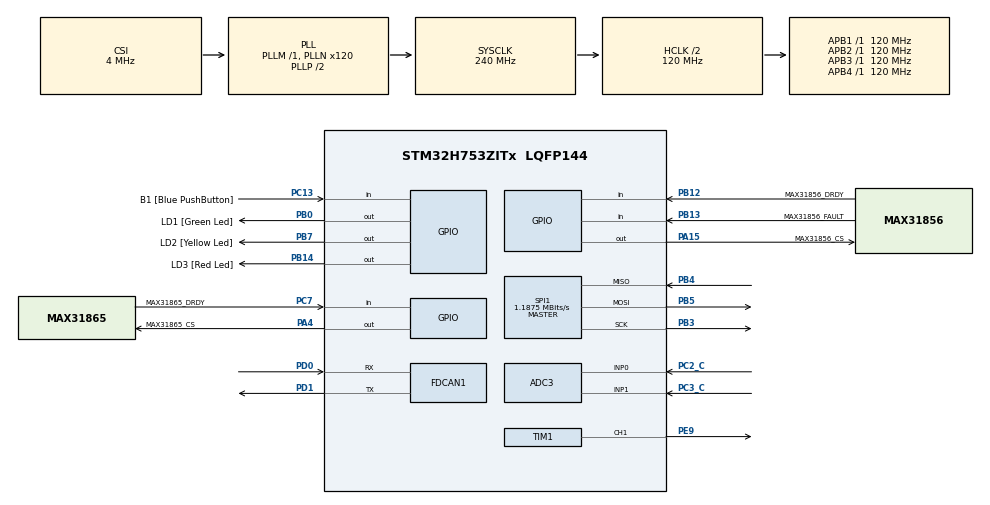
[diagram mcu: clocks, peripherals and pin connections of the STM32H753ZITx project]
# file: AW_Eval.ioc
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ADC3.Channel-0\#ChannelRegularConversion=ADC_CHANNEL_0
ADC3.Channel-1\#ChannelRegularConversion=ADC_CHANNEL_1
ADC3.Channel-2\#ChannelRegularConversion=ADC_CHANNEL_TEMPSENSOR
ADC3.ConversionDataManagement=ADC_CONVERSIONDATA_DMA_CIRCULAR
ADC3.EOCSelection=ADC_EOC_SEQ_CONV
ADC3.ExternalTrigConv=ADC_EXTERNALTRIG_T1_CC1
ADC3.NbrOfConversion=3
ADC3.NbrOfConversionFlag=1
ADC3.OffsetNumber-0\#ChannelRegularConversion=ADC_OFFSET_NONE
ADC3.OffsetNumber-1\#ChannelRegularConversion=ADC_OFFSET_NONE
ADC3.OffsetNumber-2\#ChannelRegularConversion=ADC_OFFSET_NONE
ADC3.OffsetSignedSaturation-0\#ChannelRegularConversion=DISABLE
ADC3.OffsetSignedSaturation-1\#ChannelRegularConversion=DISABLE
ADC3.OffsetSignedSaturation-2\#ChannelRegularConversion=DISABLE
ADC3.Overrun=ADC_OVR_DATA_OVERWRITTEN
ADC3.Rank-0\#ChannelRegularConversion=1
ADC3.Rank-1\#ChannelRegularConversion=2
ADC3.Rank-2\#ChannelRegularConversion=3
ADC3.SamplingTime-0\#ChannelRegularConversion=ADC_SAMPLETIME_1CYCLE_5
ADC3.SamplingTime-1\#ChannelRegularConversion=ADC_SAMPLETIME_1CYCLE_5
ADC3.SamplingTime-2\#ChannelRegularConversion=ADC_SAMPLETIME_810CYCLES_5
Bdma.ADC3.0.Direction=DMA_PERIPH_TO_MEMORY
Bdma.ADC3.0.EventEnable=DISABLE
Bdma.ADC3.0.Instance=BDMA_Channel0
Bdma.ADC3.0.MemDataAlignment=DMA_MDATAALIGN_HALFWORD
Bdma.ADC3.0.MemInc=DMA_MINC_ENABLE
Bdma.ADC3.0.Mode=DMA_CIRCULAR
Bdma.ADC3.0.PeriphDataAlignment=DMA_PDATAALIGN_HALFWORD
Bdma.ADC3.0.PeriphInc=DMA_PINC_DISABLE
Bdma.ADC3.0.Polarity=HAL_DMAMUX_REQ_GEN_RISING
Bdma.ADC3.0.Priority=DMA_PRIORITY_LOW
Bdma.ADC3.0.RequestNumber=1
Bdma.ADC3.0.SignalID=NONE
Bdma.ADC3.0.SyncEnable=DISABLE
Bdma.ADC3.0.SyncPolarity=HAL_DMAMUX_SYNC_NO_EVENT
Bdma.ADC3.0.SyncRequestNumber=1
Bdma.ADC3.0.SyncSignalID=NONE
Bdma.Request0=ADC3
Bdma.RequestsNb=1
CORTEX_M7.CPU_DCache=Disabled
CORTEX_M7.CPU_ICache=Disabled
CORTEX_M7.MPU_Control=__NULL
CORTEX_M7.default_mode_Activation=1
FDCAN1.CalculateBaudRateNominal=500000
FDCAN1.CalculateTimeBitNominal=2000
FDCAN1.CalculateTimeQuantumNominal=499.99999999999994
FDCAN1.ClockCalibrationCCU=DISABLE
FDCAN1.NominalPrescaler=19
FDCAN1.NominalTimeSeg1=2
FDCAN1.TxBuffersNbr=32
FREERTOS.Tasks01=can,24,128,canTask,Default,NULL,Dynamic,NULL,NULL;hrtbt,8,128,task_heartbeat,Default,NULL,Dynamic,NULL,NULL;spi,8,128,task_spi,Default,NULL,Dynamic,NULL,NULL
Mcu.Family=STM32H7
Mcu.Name=STM32H753ZITx
Mcu.Package=LQFP144
NVIC.BDMA_Channel0_IRQn=true\:5\:0\:false\:false\:true\:true\:false\:true\:true
NVIC.PriorityGroup=NVIC_PRIORITYGROUP_4
PA15\ (JTDI).GPIO_Label=MAX31856_CS
PA15\ (JTDI).GPIO_Speed=GPIO_SPEED_FREQ_VERY_HIGH
PA15\ (JTDI).PinState=GPIO_PIN_SET
PA15\ (JTDI).Signal=GPIO_Output
PA4.GPIO_Label=MAX31865_CS
PA4.GPIO_Speed=GPIO_SPEED_FREQ_VERY_HIGH
PA4.PinState=GPIO_PIN_SET
PA4.Signal=GPIO_Output
PB0.GPIO_Label=LD1 [Green Led]
PB0.Signal=GPIO_Output
PB12.GPIO_Label=MAX31856_DRDY
PB12.Signal=GPIO_Input
PB13.GPIO_Label=MAX31856_FAULT
PB13.Signal=GPIO_Input
PB14.GPIO_Label=LD3 [Red Led]
PB14.Signal=GPIO_Output
PB3\ (JTDO/TRACESWO).GPIO_Speed=GPIO_SPEED_FREQ_VERY_HIGH
PB3\ (JTDO/TRACESWO).Mode=Full_Duplex_Master
PB3\ (JTDO/TRACESWO).Signal=SPI1_SCK
PB4\ (NJTRST).GPIO_Speed=GPIO_SPEED_FREQ_VERY_HIGH
PB4\ (NJTRST).Mode=Full_Duplex_Master
PB4\ (NJTRST).Signal=SPI1_MISO
PB5.GPIO_Speed=GPIO_SPEED_FREQ_VERY_HIGH
PB5.Mode=Full_Duplex_Master
PB5.Signal=SPI1_MOSI
PB7.GPIO_Label=LD2 [Yellow Led]
PB7.Signal=GPIO_Output
PC13.GPIO_Label=B1 [Blue PushButton]
PC13.Signal=GPIO_Input
PC14-OSC32_IN\ (OSC32_IN).Signal=RCC_OSC32_IN
PC15-OSC32_OUT\ (OSC32_OUT).Signal=RCC_OSC32_OUT
PC2_C.Mode=IN0-Single-Ended
PC2_C.Signal=ADC3_INP0
PC3_C.Mode=IN1-Single-Ended
PC3_C.Signal=ADC3_INP1
PC7.GPIO_Label=MAX31865_DRDY
PC7.Signal=GPIO_Input
PD0.Mode=FDCAN_Activate
PD0.Signal=FDCAN1_RX
PD1.Mode=FDCAN_Activate
PD1.Signal=FDCAN1_TX
PD8.GPIO_Label=STLINK_RX
PD8.Signal=USART3_TX
PD9.GPIO_Label=STLINK_TX
PD9.Signal=USART3_RX
PE9.Signal=S_TIM1_CH1
PH0-OSC_IN\ (PH0).Signal=RCC_OSC_IN
PH1-OSC_OUT\ (PH1).Signal=RCC_OSC_OUT
ProjectManager.HeapSize=0x200
ProjectManager.StackSize=0x400
ProjectManager.TargetToolchain=STM32CubeIDE
RCC.ADCFreq_Value=76000000
RCC.APB1Freq_Value=120000000
RCC.APB2Freq_Value=120000000
RCC.APB3Freq_Value=120000000
RCC.APB4Freq_Value=120000000
RCC.CortexFreq_Value=240000000
RCC.DIVM1=1
RCC.DIVM2=1
RCC.DIVN1=120
RCC.DIVN2=38
RCC.DIVQ2=4
RCC.FDCANCLockSelection=RCC_FDCANCLKSOURCE_PLL2
RCC.HCLKFreq_Value=120000000
RCC.HPRE=RCC_HCLK_DIV2
RCC.HSE_VALUE=8000000
RCC.PLL2FRACN=0
RCC.PLLFRACN=0
RCC.PLLSourceVirtual=RCC_PLLSOURCE_CSI
RCC.PWR_Regulator_Voltage_Scale=PWR_REGULATOR_VOLTAGE_SCALE2
RCC.SPI123CLockSelection=RCC_SPI123CLKSOURCE_PLL2
RCC.SYSCLKFreq_VALUE=240000000
RCC.SYSCLKSource=RCC_SYSCLKSOURCE_PLLCLK
RCC.USBFreq_Value=240000000
SH.S_TIM1_CH1.0=TIM1_CH1,PWM Generation1 CH1
SPI1.BaudRatePrescaler=SPI_BAUDRATEPRESCALER_64
SPI1.CLKPhase=SPI_PHASE_1EDGE
SPI1.CalculateBaudRate=1.1875 MBits/s
SPI1.DataSize=SPI_DATASIZE_8BIT
SPI1.Direction=SPI_DIRECTION_2LINES
SPI1.Mode=SPI_MODE_MASTER
SPI1.NSSPMode=SPI_NSS_PULSE_ENABLE
SPI1.VirtualType=VM_MASTER
TIM1.AutoReloadPreload=TIM_AUTORELOAD_PRELOAD_ENABLE
TIM1.Channel-PWM\ Generation1\ CH1=TIM_CHANNEL_1
TIM1.Period=1000
TIM1.Prescaler=64000
TIM1.Pulse-PWM\ Generation1\ CH1=500
TIM1.TIM_MasterOutputTrigger=TIM_TRGO_OC1REF
VP_ADC3_TempSens_Input.Mode=IN-TempSens
VP_FREERTOS_VS_CMSIS_V2.Mode=CMSIS_V2
VP_MEMORYMAP_VS_MEMORYMAP.Mode=CurAppReg
board=NUCLEO-H753ZI

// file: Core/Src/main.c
/* USER CODE BEGIN Header */
/**
  ******************************************************************************
  * @file           : main.c
  * @brief          : Main program body
  ******************************************************************************
  * @attention
  *
  * Copyright (c) 2025 STMicroelectronics.
  * All rights reserved.
  *
  * This software is licensed under terms that can be found in the LICENSE file
  * in the root directory of this software component.
  * If no LICENSE file comes with this software, it is provided AS-IS.
  *
  ******************************************************************************
  */
/* USER CODE END Header */
#include "main.h"
#include "cmsis_os.h"

/* USER CODE BEGIN Includes */
#include "max31865.h" //RTD
#include "max31856.h" //TC
/* USER CODE END Includes */

ADC_HandleTypeDef hadc3;
DMA_HandleTypeDef hdma_adc3;

FDCAN_HandleTypeDef hfdcan1;

SPI_HandleTypeDef hspi1;

TIM_HandleTypeDef htim1;

/* Definitions for can */
osThreadId_t canHandle;
const osThreadAttr_t can_attributes = {
  .name = "can",
  .stack_size = 128 * 4,
  .priority = (osPriority_t) osPriorityNormal,
};
/* Definitions for hrtbt */
osThreadId_t hrtbtHandle;
const osThreadAttr_t hrtbt_attributes = {
  .name = "hrtbt",
  .stack_size = 128 * 4,
  .priority = (osPriority_t) osPriorityLow,
};
/* Definitions for spi */
osThreadId_t spiHandle;
const osThreadAttr_t spi_attributes = {
  .name = "spi",
  .stack_size = 128 * 4,
  .priority = (osPriority_t) osPriorityLow,
};
/* USER CODE BEGIN PV */

float scalar = 3.3f/32768.0f;
/* Definition of ADCx conversions data table size */
#define ADC_DATA_BUFFER_SIZE3   ((uint32_t)  3)   /* Size of array aADCxConvertedData[] */
/* Variable containing ADC conversions data */

float TS_CAL1_TEMP = 30.0f,TS_CAL2_TEMP = 130.0f;
ALIGN_32BYTES (static uint16_t   aADCxConvertedData3[ADC_DATA_BUFFER_SIZE3])  __attribute__((section(".RAM_D3")));
float result[ADC_DATA_BUFFER_SIZE3];
/* USER CODE END PV */

void SystemClock_Config(void);
void PeriphCommonClock_Config(void);
static void MX_GPIO_Init(void);
static void MX_BDMA_Init(void);
static void MX_FDCAN1_Init(void);
static void MX_TIM1_Init(void);
static void MX_ADC3_Init(void);
static void MX_SPI1_Init(void);
void canTask(void *argument);
void task_heartbeat(void *argument);
void task_spi(void *argument);

/* USER CODE BEGIN 0 */
uint8_t convComplete = 0;

void HAL_ADC_ConvCpltCallback(ADC_HandleTypeDef* hadc)
{
	if (hadc->Instance == ADC3) {
	   //SCB_InvalidateDCache_by_Addr((uint32_t *) &aADCxConvertedData3[0], ADC_DATA_BUFFER_SIZE3);
	   for(int i = 0; i<ADC_DATA_BUFFER_SIZE3;i++){
		   result[i] = scalar * (float)aADCxConvertedData3[i];
	   }
	   convComplete = 1;
	}
}
/* USER CODE END 0 */

int main(void)
{

  /* MCU Configuration--------------------------------------------------------*/

  /* Reset of all peripherals, Initializes the Flash interface and the Systick. */
  HAL_Init();

  /* Configure the system clock */
  SystemClock_Config();

  /* Configure the peripherals common clocks */
  PeriphCommonClock_Config();

  /* Initialize all configured peripherals */
  MX_GPIO_Init();
  MX_BDMA_Init();
  MX_FDCAN1_Init();
  MX_TIM1_Init();
  MX_ADC3_Init();
  MX_SPI1_Init();
  /* USER CODE BEGIN 2 */
	HAL_ADCEx_Calibration_Start(&hadc3,ADC_CALIB_OFFSET_LINEARITY,ADC_SINGLE_ENDED);
	HAL_ADC_Start_DMA(&hadc3, (uint32_t *)aADCxConvertedData3, ADC_DATA_BUFFER_SIZE3);

	HAL_TIM_PWM_Start(&htim1, TIM_CHANNEL_1);

	HAL_FDCAN_Start(&hfdcan1);
  /* USER CODE END 2 */

  /* Init scheduler */
  osKernelInitialize();

  /* Create the thread(s) */
  /* creation of can */
  canHandle = osThreadNew(canTask, NULL, &can_attributes);

  /* creation of hrtbt */
  hrtbtHandle = osThreadNew(task_heartbeat, NULL, &hrtbt_attributes);

  /* creation of spi */
  spiHandle = osThreadNew(task_spi, NULL, &spi_attributes);

  /* Start scheduler */
  osKernelStart();

  /* We should never get here as control is now taken by the scheduler */

  /* Infinite loop */
  while (1)
  {

  }
}

void SystemClock_Config(void)
{
  RCC_OscInitTypeDef RCC_OscInitStruct = {0};
  RCC_ClkInitTypeDef RCC_ClkInitStruct = {0};

  /** Supply configuration update enable
  */
  HAL_PWREx_ConfigSupply(PWR_LDO_SUPPLY);

  /** Configure the main internal regulator output voltage
  */
  __HAL_PWR_VOLTAGESCALING_CONFIG(PWR_REGULATOR_VOLTAGE_SCALE2);

  while(!__HAL_PWR_GET_FLAG(PWR_FLAG_VOSRDY)) {}

  /** Initializes the RCC Oscillators according to the specified parameters
  * in the RCC_OscInitTypeDef structure.
  */
  RCC_OscInitStruct.OscillatorType = RCC_OSCILLATORTYPE_CSI;
  RCC_OscInitStruct.CSIState = RCC_CSI_ON;
  RCC_OscInitStruct.CSICalibrationValue = RCC_CSICALIBRATION_DEFAULT;
  RCC_OscInitStruct.PLL.PLLState = RCC_PLL_ON;
  RCC_OscInitStruct.PLL.PLLSource = RCC_PLLSOURCE_CSI;
  RCC_OscInitStruct.PLL.PLLM = 1;
  RCC_OscInitStruct.PLL.PLLN = 120;
  RCC_OscInitStruct.PLL.PLLP = 2;
  RCC_OscInitStruct.PLL.PLLQ = 2;
  RCC_OscInitStruct.PLL.PLLR = 2;
  RCC_OscInitStruct.PLL.PLLRGE = RCC_PLL1VCIRANGE_2;
  RCC_OscInitStruct.PLL.PLLVCOSEL = RCC_PLL1VCOWIDE;
  RCC_OscInitStruct.PLL.PLLFRACN = 0;
  if (HAL_RCC_OscConfig(&RCC_OscInitStruct) != HAL_OK)
  {
    Error_Handler();
  }

  /** Initializes the CPU, AHB and APB buses clocks
  */
  RCC_ClkInitStruct.ClockType = RCC_CLOCKTYPE_HCLK|RCC_CLOCKTYPE_SYSCLK
                              |RCC_CLOCKTYPE_PCLK1|RCC_CLOCKTYPE_PCLK2
                              |RCC_CLOCKTYPE_D3PCLK1|RCC_CLOCKTYPE_D1PCLK1;
  RCC_ClkInitStruct.SYSCLKSource = RCC_SYSCLKSOURCE_PLLCLK;
  RCC_ClkInitStruct.SYSCLKDivider = RCC_SYSCLK_DIV1;
  RCC_ClkInitStruct.AHBCLKDivider = RCC_HCLK_DIV2;
  RCC_ClkInitStruct.APB3CLKDivider = RCC_APB3_DIV1;
  RCC_ClkInitStruct.APB1CLKDivider = RCC_APB1_DIV1;
  RCC_ClkInitStruct.APB2CLKDivider = RCC_APB2_DIV1;
  RCC_ClkInitStruct.APB4CLKDivider = RCC_APB4_DIV1;

  if (HAL_RCC_ClockConfig(&RCC_ClkInitStruct, FLASH_LATENCY_2) != HAL_OK)
  {
    Error_Handler();
  }
}

void PeriphCommonClock_Config(void)
{
  RCC_PeriphCLKInitTypeDef PeriphClkInitStruct = {0};

  /** Initializes the peripherals clock
  */
  PeriphClkInitStruct.PeriphClockSelection = RCC_PERIPHCLK_ADC|RCC_PERIPHCLK_SPI1
                              |RCC_PERIPHCLK_FDCAN;
  PeriphClkInitStruct.PLL2.PLL2M = 1;
  PeriphClkInitStruct.PLL2.PLL2N = 38;
  PeriphClkInitStruct.PLL2.PLL2P = 2;
  PeriphClkInitStruct.PLL2.PLL2Q = 4;
  PeriphClkInitStruct.PLL2.PLL2R = 2;
  PeriphClkInitStruct.PLL2.PLL2RGE = RCC_PLL2VCIRANGE_2;
  PeriphClkInitStruct.PLL2.PLL2VCOSEL = RCC_PLL2VCOMEDIUM;
  PeriphClkInitStruct.PLL2.PLL2FRACN = 0;
  PeriphClkInitStruct.Spi123ClockSelection = RCC_SPI123CLKSOURCE_PLL2;
  PeriphClkInitStruct.FdcanClockSelection = RCC_FDCANCLKSOURCE_PLL2;
  PeriphClkInitStruct.AdcClockSelection = RCC_ADCCLKSOURCE_PLL2;
  if (HAL_RCCEx_PeriphCLKConfig(&PeriphClkInitStruct) != HAL_OK)
  {
    Error_Handler();
  }
}

static void MX_ADC3_Init(void)
{

  ADC_ChannelConfTypeDef sConfig = {0};

  /** Common config
  */
  hadc3.Instance = ADC3;
  hadc3.Init.ClockPrescaler = ADC_CLOCK_ASYNC_DIV2;
  hadc3.Init.Resolution = ADC_RESOLUTION_16B;
  hadc3.Init.ScanConvMode = ADC_SCAN_ENABLE;
  hadc3.Init.EOCSelection = ADC_EOC_SEQ_CONV;
  hadc3.Init.LowPowerAutoWait = DISABLE;
  hadc3.Init.ContinuousConvMode = DISABLE;
  hadc3.Init.NbrOfConversion = 3;
  hadc3.Init.DiscontinuousConvMode = DISABLE;
  hadc3.Init.ExternalTrigConv = ADC_EXTERNALTRIG_T1_CC1;
  hadc3.Init.ExternalTrigConvEdge = ADC_EXTERNALTRIGCONVEDGE_RISING;
  hadc3.Init.ConversionDataManagement = ADC_CONVERSIONDATA_DMA_CIRCULAR;
  hadc3.Init.Overrun = ADC_OVR_DATA_OVERWRITTEN;
  hadc3.Init.LeftBitShift = ADC_LEFTBITSHIFT_NONE;
  hadc3.Init.OversamplingMode = DISABLE;
  hadc3.Init.Oversampling.Ratio = 1;
  if (HAL_ADC_Init(&hadc3) != HAL_OK)
  {
    Error_Handler();
  }

  /** Configure Regular Channel
  */
  sConfig.Channel = ADC_CHANNEL_0;
  sConfig.Rank = ADC_REGULAR_RANK_1;
  sConfig.SamplingTime = ADC_SAMPLETIME_1CYCLE_5;
  sConfig.SingleDiff = ADC_SINGLE_ENDED;
  sConfig.OffsetNumber = ADC_OFFSET_NONE;
  sConfig.Offset = 0;
  sConfig.OffsetSignedSaturation = DISABLE;
  if (HAL_ADC_ConfigChannel(&hadc3, &sConfig) != HAL_OK)
  {
    Error_Handler();
  }

  /** Configure Regular Channel
  */
  sConfig.Channel = ADC_CHANNEL_1;
  sConfig.Rank = ADC_REGULAR_RANK_2;
  if (HAL_ADC_ConfigChannel(&hadc3, &sConfig) != HAL_OK)
  {
    Error_Handler();
  }

  /** Configure Regular Channel
  */
  sConfig.Channel = ADC_CHANNEL_TEMPSENSOR;
  sConfig.Rank = ADC_REGULAR_RANK_3;
  sConfig.SamplingTime = ADC_SAMPLETIME_810CYCLES_5;
  if (HAL_ADC_ConfigChannel(&hadc3, &sConfig) != HAL_OK)
  {
    Error_Handler();
  }

}

static void MX_FDCAN1_Init(void)
{

  hfdcan1.Instance = FDCAN1;
  hfdcan1.Init.FrameFormat = FDCAN_FRAME_CLASSIC;
  hfdcan1.Init.Mode = FDCAN_MODE_NORMAL;
  hfdcan1.Init.AutoRetransmission = DISABLE;
  hfdcan1.Init.TransmitPause = DISABLE;
  hfdcan1.Init.ProtocolException = DISABLE;
  hfdcan1.Init.NominalPrescaler = 19;
  hfdcan1.Init.NominalSyncJumpWidth = 1;
  hfdcan1.Init.NominalTimeSeg1 = 2;
  hfdcan1.Init.NominalTimeSeg2 = 1;
  hfdcan1.Init.DataPrescaler = 1;
  hfdcan1.Init.DataSyncJumpWidth = 1;
  hfdcan1.Init.DataTimeSeg1 = 1;
  hfdcan1.Init.DataTimeSeg2 = 1;
  hfdcan1.Init.MessageRAMOffset = 0;
  hfdcan1.Init.StdFiltersNbr = 0;
  hfdcan1.Init.ExtFiltersNbr = 0;
  hfdcan1.Init.RxFifo0ElmtsNbr = 0;
  hfdcan1.Init.RxFifo0ElmtSize = FDCAN_DATA_BYTES_8;
  hfdcan1.Init.RxFifo1ElmtsNbr = 0;
  hfdcan1.Init.RxFifo1ElmtSize = FDCAN_DATA_BYTES_8;
  hfdcan1.Init.RxBuffersNbr = 0;
  hfdcan1.Init.RxBufferSize = FDCAN_DATA_BYTES_8;
  hfdcan1.Init.TxEventsNbr = 0;
  hfdcan1.Init.TxBuffersNbr = 32;
  hfdcan1.Init.TxFifoQueueElmtsNbr = 0;
  hfdcan1.Init.TxFifoQueueMode = FDCAN_TX_FIFO_OPERATION;
  hfdcan1.Init.TxElmtSize = FDCAN_DATA_BYTES_8;
  if (HAL_FDCAN_Init(&hfdcan1) != HAL_OK)
  {
    Error_Handler();
  }

}

static void MX_SPI1_Init(void)
{

  /* SPI1 parameter configuration*/
  hspi1.Instance = SPI1;
  hspi1.Init.Mode = SPI_MODE_MASTER;
  hspi1.Init.Direction = SPI_DIRECTION_2LINES;
  hspi1.Init.DataSize = SPI_DATASIZE_8BIT;
  hspi1.Init.CLKPolarity = SPI_POLARITY_LOW;
  hspi1.Init.CLKPhase = SPI_PHASE_1EDGE;
  hspi1.Init.NSS = SPI_NSS_SOFT;
  hspi1.Init.BaudRatePrescaler = SPI_BAUDRATEPRESCALER_64;
  hspi1.Init.FirstBit = SPI_FIRSTBIT_MSB;
  hspi1.Init.TIMode = SPI_TIMODE_DISABLE;
  hspi1.Init.CRCCalculation = SPI_CRCCALCULATION_DISABLE;
  hspi1.Init.CRCPolynomial = 0x0;
  hspi1.Init.NSSPMode = SPI_NSS_PULSE_ENABLE;
  hspi1.Init.NSSPolarity = SPI_NSS_POLARITY_LOW;
  hspi1.Init.FifoThreshold = SPI_FIFO_THRESHOLD_01DATA;
  hspi1.Init.TxCRCInitializationPattern = SPI_CRC_INITIALIZATION_ALL_ZERO_PATTERN;
  hspi1.Init.RxCRCInitializationPattern = SPI_CRC_INITIALIZATION_ALL_ZERO_PATTERN;
  hspi1.Init.MasterSSIdleness = SPI_MASTER_SS_IDLENESS_00CYCLE;
  hspi1.Init.MasterInterDataIdleness = SPI_MASTER_INTERDATA_IDLENESS_00CYCLE;
  hspi1.Init.MasterReceiverAutoSusp = SPI_MASTER_RX_AUTOSUSP_DISABLE;
  hspi1.Init.MasterKeepIOState = SPI_MASTER_KEEP_IO_STATE_DISABLE;
  hspi1.Init.IOSwap = SPI_IO_SWAP_DISABLE;
  if (HAL_SPI_Init(&hspi1) != HAL_OK)
  {
    Error_Handler();
  }

}

static void MX_TIM1_Init(void)
{

  TIM_MasterConfigTypeDef sMasterConfig = {0};
  TIM_OC_InitTypeDef sConfigOC = {0};
  TIM_BreakDeadTimeConfigTypeDef sBreakDeadTimeConfig = {0};

  htim1.Instance = TIM1;
  htim1.Init.Prescaler = 64000;
  htim1.Init.CounterMode = TIM_COUNTERMODE_UP;
  htim1.Init.Period = 1000;
  htim1.Init.ClockDivision = TIM_CLOCKDIVISION_DIV1;
  htim1.Init.RepetitionCounter = 0;
  htim1.Init.AutoReloadPreload = TIM_AUTORELOAD_PRELOAD_ENABLE;
  if (HAL_TIM_PWM_Init(&htim1) != HAL_OK)
  {
    Error_Handler();
  }
  sMasterConfig.MasterOutputTrigger = TIM_TRGO_OC1REF;
  sMasterConfig.MasterOutputTrigger2 = TIM_TRGO2_RESET;
  sMasterConfig.MasterSlaveMode = TIM_MASTERSLAVEMODE_DISABLE;
  if (HAL_TIMEx_MasterConfigSynchronization(&htim1, &sMasterConfig) != HAL_OK)
  {
    Error_Handler();
  }
  sConfigOC.OCMode = TIM_OCMODE_PWM1;
  sConfigOC.Pulse = 500;
  sConfigOC.OCPolarity = TIM_OCPOLARITY_HIGH;
  sConfigOC.OCNPolarity = TIM_OCNPOLARITY_HIGH;
  sConfigOC.OCFastMode = TIM_OCFAST_DISABLE;
  sConfigOC.OCIdleState = TIM_OCIDLESTATE_RESET;
  sConfigOC.OCNIdleState = TIM_OCNIDLESTATE_RESET;
  if (HAL_TIM_PWM_ConfigChannel(&htim1, &sConfigOC, TIM_CHANNEL_1) != HAL_OK)
  {
    Error_Handler();
  }
  sBreakDeadTimeConfig.OffStateRunMode = TIM_OSSR_DISABLE;
  sBreakDeadTimeConfig.OffStateIDLEMode = TIM_OSSI_DISABLE;
  sBreakDeadTimeConfig.LockLevel = TIM_LOCKLEVEL_OFF;
  sBreakDeadTimeConfig.DeadTime = 0;
  sBreakDeadTimeConfig.BreakState = TIM_BREAK_DISABLE;
  sBreakDeadTimeConfig.BreakPolarity = TIM_BREAKPOLARITY_HIGH;
  sBreakDeadTimeConfig.BreakFilter = 0;
  sBreakDeadTimeConfig.Break2State = TIM_BREAK2_DISABLE;
  sBreakDeadTimeConfig.Break2Polarity = TIM_BREAK2POLARITY_HIGH;
  sBreakDeadTimeConfig.Break2Filter = 0;
  sBreakDeadTimeConfig.AutomaticOutput = TIM_AUTOMATICOUTPUT_DISABLE;
  if (HAL_TIMEx_ConfigBreakDeadTime(&htim1, &sBreakDeadTimeConfig) != HAL_OK)
  {
    Error_Handler();
  }
  HAL_TIM_MspPostInit(&htim1);

}

static void MX_BDMA_Init(void)
{

  /* DMA controller clock enable */
  __HAL_RCC_BDMA_CLK_ENABLE();

  /* DMA interrupt init */
  /* BDMA_Channel0_IRQn interrupt configuration */
  HAL_NVIC_SetPriority(BDMA_Channel0_IRQn, 5, 0);
  HAL_NVIC_EnableIRQ(BDMA_Channel0_IRQn);

}

static void MX_GPIO_Init(void)
{
  GPIO_InitTypeDef GPIO_InitStruct = {0};

  /* GPIO Ports Clock Enable */
  __HAL_RCC_GPIOC_CLK_ENABLE();
  __HAL_RCC_GPIOH_CLK_ENABLE();
  __HAL_RCC_GPIOA_CLK_ENABLE();
  __HAL_RCC_GPIOB_CLK_ENABLE();
  __HAL_RCC_GPIOE_CLK_ENABLE();
  __HAL_RCC_GPIOD_CLK_ENABLE();

  /*Configure GPIO pin Output Level */
  HAL_GPIO_WritePin(GPIOA, MAX31865_CS_Pin|MAX31856_CS_Pin, GPIO_PIN_SET);

  /*Configure GPIO pin Output Level */
  HAL_GPIO_WritePin(GPIOB, LD1_Pin|LD3_Pin|LD2_Pin, GPIO_PIN_RESET);

  /*Configure GPIO pins : B1_Pin MAX31865_DRDY_Pin */
  GPIO_InitStruct.Pin = B1_Pin|MAX31865_DRDY_Pin;
  GPIO_InitStruct.Mode = GPIO_MODE_INPUT;
  GPIO_InitStruct.Pull = GPIO_NOPULL;
  HAL_GPIO_Init(GPIOC, &GPIO_InitStruct);

  /*Configure GPIO pins : MAX31865_CS_Pin MAX31856_CS_Pin */
  GPIO_InitStruct.Pin = MAX31865_CS_Pin|MAX31856_CS_Pin;
  GPIO_InitStruct.Mode = GPIO_MODE_OUTPUT_PP;
  GPIO_InitStruct.Pull = GPIO_NOPULL;
  GPIO_InitStruct.Speed = GPIO_SPEED_FREQ_VERY_HIGH;
  HAL_GPIO_Init(GPIOA, &GPIO_InitStruct);

  /*Configure GPIO pins : LD1_Pin LD3_Pin LD2_Pin */
  GPIO_InitStruct.Pin = LD1_Pin|LD3_Pin|LD2_Pin;
  GPIO_InitStruct.Mode = GPIO_MODE_OUTPUT_PP;
  GPIO_InitStruct.Pull = GPIO_NOPULL;
  GPIO_InitStruct.Speed = GPIO_SPEED_FREQ_LOW;
  HAL_GPIO_Init(GPIOB, &GPIO_InitStruct);

  /*Configure GPIO pins : MAX31856_DRDY_Pin MAX31856_FAULT_Pin */
  GPIO_InitStruct.Pin = MAX31856_DRDY_Pin|MAX31856_FAULT_Pin;
  GPIO_InitStruct.Mode = GPIO_MODE_INPUT;
  GPIO_InitStruct.Pull = GPIO_NOPULL;
  HAL_GPIO_Init(GPIOB, &GPIO_InitStruct);

  /*Configure GPIO pins : STLINK_RX_Pin STLINK_TX_Pin */
  GPIO_InitStruct.Pin = STLINK_RX_Pin|STLINK_TX_Pin;
  GPIO_InitStruct.Mode = GPIO_MODE_AF_PP;
  GPIO_InitStruct.Pull = GPIO_NOPULL;
  GPIO_InitStruct.Speed = GPIO_SPEED_FREQ_LOW;
  GPIO_InitStruct.Alternate = GPIO_AF7_USART3;
  HAL_GPIO_Init(GPIOD, &GPIO_InitStruct);

}

void canTask(void *argument)
{
  /* USER CODE BEGIN 5 */
	float tempC_int,tempF_ext;
	//Assumes vref of 3.3v, we are using 2.5v so these need scaled.
	float TS_CAL1 = (float)(*(uint16_t*)0x1FF1E820);
	float TS_CAL2 = (float)(*(uint16_t*)0x1FF1E840);
	float tempSlope = ((TS_CAL2_TEMP - TS_CAL1_TEMP)/(TS_CAL2 - TS_CAL1));
	FDCAN_TxHeaderTypeDef pTxHeader;
	uint8_t pTxData[8];
	pTxHeader.Identifier = 0x1FFF2018;
	pTxHeader.IdType = FDCAN_EXTENDED_ID;
	pTxHeader.TxFrameType = FDCAN_DATA_FRAME;
	pTxHeader.DataLength = FDCAN_DLC_BYTES_8;
	pTxHeader.ErrorStateIndicator = FDCAN_ESI_PASSIVE;
	pTxHeader.BitRateSwitch = FDCAN_BRS_OFF;
	pTxHeader.FDFormat = FDCAN_CLASSIC_CAN;
	pTxHeader.TxEventFifoControl = FDCAN_NO_TX_EVENTS;
	pTxHeader.MessageMarker = 0x00;
  /* Infinite loop */
  for(;;)
  {
	  if(convComplete){
		  convComplete = 0;
		  tempC_int = tempSlope * ((float)aADCxConvertedData3[2] - TS_CAL1) + TS_CAL1_TEMP;
		  tempF_ext = result[0]*100; //10mv/degF (LM34)
		  pTxData[0] = tempF_ext;
		  pTxData[1] =(uint8_t)tempC_int;
		  pTxData[2] = 0x04;
		  pTxData[3] = 0x04;
		  pTxData[4] = 0x05;
		  pTxData[5] = 0x06;
		  pTxData[6] = 0x07;
		  pTxData[7]++;
		  HAL_FDCAN_AddMessageToTxBuffer(&hfdcan1, &pTxHeader, pTxData, FDCAN_TX_BUFFER0);
		  HAL_FDCAN_EnableTxBufferRequest(&hfdcan1 , FDCAN_TX_BUFFER0);
	  }
    osDelay(500);
  }
  /* USER CODE END 5 */
}

void task_heartbeat(void *argument)
{
  for(;;)
  {
    osDelay(1);
  }
}

/* USER CODE BEGIN Header_task_spi */
  uint16_t RtdConversion = 0;
  uint8_t pTxData[8] = {0};
  uint8_t pRxData[8] = {0};
  uint16_t size = 1;
  /*
   *
   */
  /*
   * One for all devices using the spi bus line, This is not reentrant.
   */
  void spiCblk(uint8_t *txData, uint8_t *rxData, uint8_t length){
	  HAL_SPI_TransmitReceive(&hspi1, txData, rxData, length, 1);
  }
  /*
   * If state is active (>0) then the output is low.
   */
  void max31865_cs(uint8_t state){
	  GPIO_PinState localState;
	  if(state){
		  localState = GPIO_PIN_RESET;
	  }else{
		  localState = GPIO_PIN_SET;
	  }
	  HAL_GPIO_WritePin(MAX31865_CS_GPIO_Port, MAX31865_CS_Pin, localState);
  }
  /*
   * Used to detect if data is ready. True on active low state of pin.
   */
  uint8_t max31865_drdy(void){
 	  return (GPIO_PIN_SET==HAL_GPIO_ReadPin(MAX31865_DRDY_GPIO_Port, MAX31865_DRDY_Pin)) ?  0:  1;
  }

  /*
   * If state is active (>0) then the output is low.
   */
  void max31856_cs(uint8_t state){
	  GPIO_PinState localState;
	  if(state){
		  localState = GPIO_PIN_RESET;
	  }else{
		  localState = GPIO_PIN_SET;
	  }
	  HAL_GPIO_WritePin(MAX31856_CS_GPIO_Port, MAX31856_CS_Pin, localState);
  }
  /*
   * Used to detect if data is ready. True on active low state of pin.
   */
  uint8_t max31856_drdy(void){
 	  return (GPIO_PIN_SET==HAL_GPIO_ReadPin(MAX31856_DRDY_GPIO_Port, MAX31856_DRDY_Pin)) ?  0:  1;
  }

/**
* @brief Function implementing the spi thread.
* @param argument: Not used
* @retval None
*/
/* USER CODE END Header_task_spi */
void task_spi(void *argument)
{
  /* USER CODE BEGIN task_spi */
  float tempRtd_c;
  float tempTC_c;
  uint8_t max31856_fault;
  uint8_t max31856_drdy_state=0;

  uint8_t max31865_fault;
  uint8_t max31865_drdy_state = 0;

  //max31865_init(spiCblk,max31865_cs);
  //osDelay(1);
  //max31865_fault = max31865_readTemp(&tempRtd_c,spiCblk,max31865_cs);

  max31856_init(spiCblk,max31856_cs);
  osDelay(1);
  max31856_fault = max31856_readTemp(&tempTC_c,spiCblk,max31856_cs);

  /* Infinite loop */
  for(;;)
  {

	 /*
	  * RTD
	  */
	 //manage the state of the data read. Signal is inverted from electrical state.
	 max31865_drdy_state = (max31865_drdy_state & 0xFE) | max31865_drdy();
	 switch(max31865_drdy_state){
		 case 0: //Input High
		 	 break;
		 case 1: //Falling edge
		 case 3: //Input Low
			 //max31865_fault = max31865_readTemp(&tempRtd_c,spiCblk,max31865_cs);
			 if(max31865_fault > 0)
			 {
				 //Handle fault here.
				 tempRtd_c = 0.0f;
			 }
			 break;
		 case 2: //Rising Edge
			 break;
	 }
	 max31865_drdy_state = (max31865_drdy_state & 0xFD) |  ((max31865_drdy_state & 0x01)<<1);

	 /*
	  * Thermocouple
	  */
	 //manage the state of the data read. Signal is inverted from electrical state.
	 max31856_drdy_state = (max31856_drdy_state & 0xFE) | max31856_drdy();
	 switch(max31856_drdy_state){
		 case 0: //Input High
		 	 break;
		 case 1: //Faling edge
		 case 3: //Input Low
			 max31856_fault = max31856_readTemp(&tempTC_c,spiCblk,max31856_cs);
			 if(max31856_fault > 0)
			 {
				 //Handle fault here.
				 tempTC_c = 0.0f;
			 }
			 break;
		 case 2: //Rising Edge
			 break;
	 }
	 max31856_drdy_state = (max31856_drdy_state & 0xFD) |  ((max31856_drdy_state & 0x01)<<1);

    osDelay(1);
  }
  /* USER CODE END task_spi */
}

void Error_Handler(void)
{
  __disable_irq();
  while (1)
  {
  }
}
